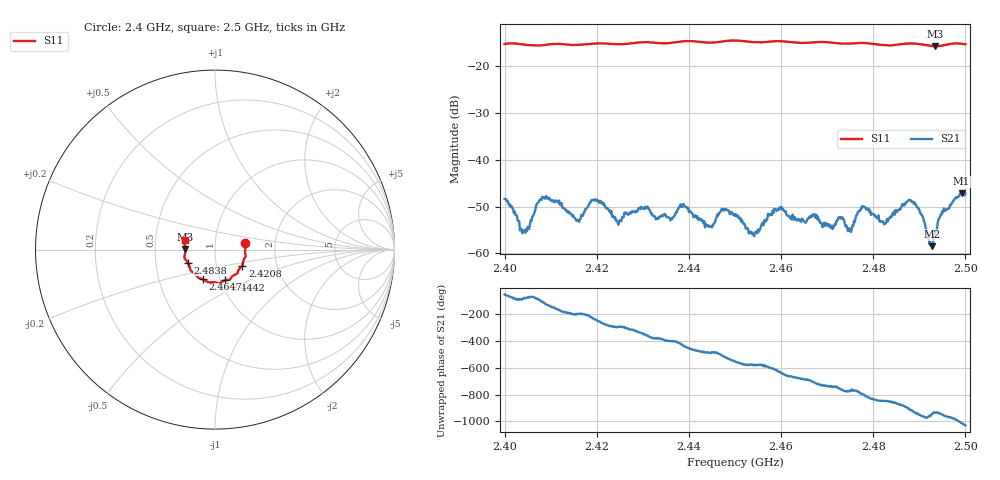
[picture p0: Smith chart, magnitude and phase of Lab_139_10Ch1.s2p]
# Hz S RI R 50
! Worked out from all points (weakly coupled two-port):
!   601 points, 2.4 GHz to 2.5 GHz, reference 50 ohm
!   highest |S21| = -47.14 dB at 2.4992 GHz (marker M1); lowest = -58.5 dB at 2.4928 GHz (marker M2)
!   lowest |S11| = -15.7 dB at 2.4935 GHz (marker M3), VSWR 1.39, Z = 35.9 + j0.143 ohm
!   |S11| at or under -10 dB: start of sweep to end of sweep
!   S12 and S22 are empty: the file has one direction only
!   S11 on the Smith chart (normalised r, x): 2.4 GHz: 1.40, +0.11; 2.4208 GHz: 1.33, -0.25; 2.4442 GHz: 1.05, -0.37; 2.4647 GHz: 0.83, -0.28; 2.4838 GHz: 0.73, -0.11; 2.5 GHz: 0.71, +0.08
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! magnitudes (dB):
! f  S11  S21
! 2.4 GHz  -15.2  -48.4
! 2.404 GHz  -15.3  -55.5
! 2.4087 GHz  -15.4  -48.2
! 2.4167 GHz  -15.3  -51.8
! 2.4208 GHz  -15.1  -48.8
! 2.4247 GHz  -15.2  -53.9
! 2.4333 GHz  -15.0  -52.7
! 2.4387 GHz  -14.6  -49.5
! 2.4442 GHz  -14.9  -54.0
! 2.45 GHz  -14.4  -52.1
! 2.454 GHz  -14.8  -55.9
! 2.4597 GHz  -14.6  -50.6
! 2.4647 GHz  -15.0  -52.7
! 2.4667 GHz  -14.9  -52.1
! 2.4748 GHz  -15.1  -55.1
! 2.4833 GHz  -15.5  -52.7
! 2.4838 GHz  -15.5  -52.3
! 2.4885 GHz  -15.1  -48.9
! 2.4928 GHz  -15.6  -58.5
! 2.4935 GHz  -15.7  -55.4
! 2.4992 GHz  -15.1  -47.1
! 2.5 GHz  -15.2  -47.2
